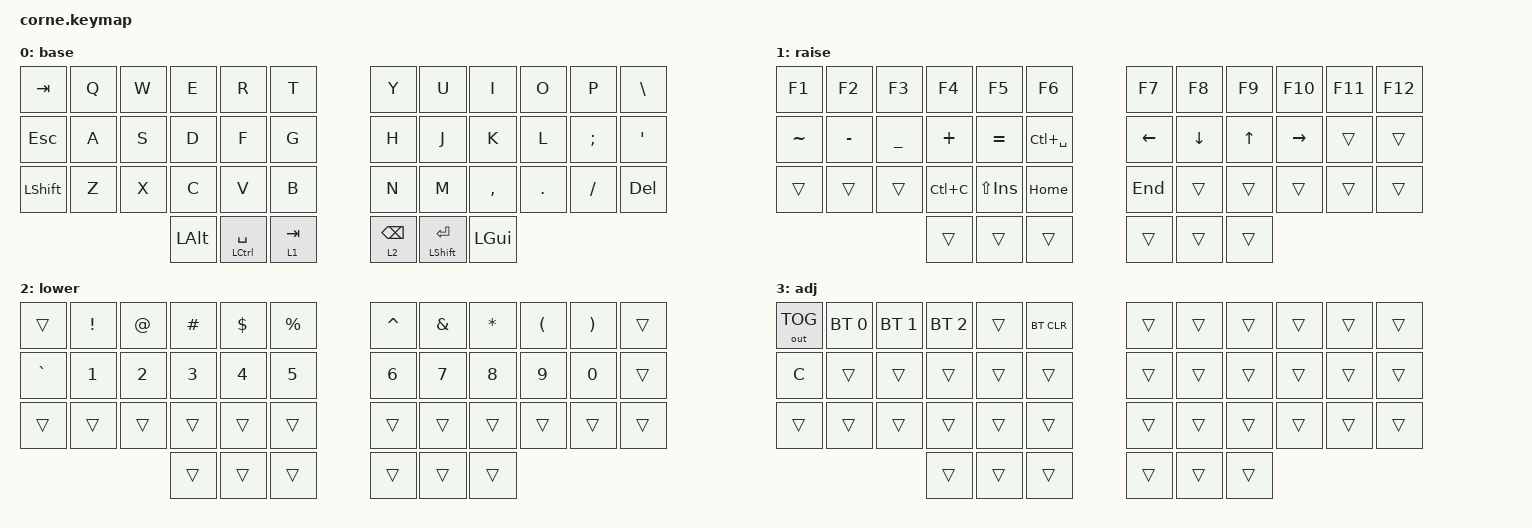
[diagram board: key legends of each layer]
/*
 * Copyright (c) 2020 The ZMK Contributors
 *
 * SPDX-License-Identifier: MIT
 */

#include <behaviors.dtsi>
#include <dt-bindings/zmk/keys.h>
#include <dt-bindings/zmk/outputs.h>
#include <dt-bindings/zmk/bt.h>

&lt {
    quick-tap-ms = <100>;
    tapping-term-ms = <150>;
};

&mt {
    flavor = "balanced";
    quick-tap-ms = <100>;
    tapping-term-ms = <150>;
};

/ {
    behaviors {
        hm: homerow_mods {
            compatible = "zmk,behavior-hold-tap";
            label = "HOMEROW_MODS";
            #binding-cells = <2>;
            tapping-term-ms = <150>;
            quick-tap-ms = <0>;
            flavor = "tap-preferred";
            bindings =
                <&kp>,
                <&kp>;
        };
    };
    
    conditional_layers {
        compatible = "zmk,conditional-layers";
        tri_layer {
            if-layers = <1 2>;
            then-layer = <3>;
        };
    };

    combos {
        compatible = "zmk,combos";

        LWindowsKey {
            bindings = <&kp LCMD>;
            key-positions = <37 38>;
        };

        lpar {
            bindings = <&kp LPAR>;
            key-positions = <16 17>;
        };

        rpar {
            bindings = <&kp RPAR>;
            key-positions = <19 18>;
        };

        lbkt {
            bindings = <&kp LBKT>;
            key-positions = <4 5>;
        };

        rbkt {
            bindings = <&kp RBKT>;
            key-positions = <6 7>;
        };

        lbrc {
            bindings = <&kp LBRC>;
            key-positions = <28 29>;
        };

        rbrc {
            bindings = <&kp RBRC>;
            key-positions = <30 31>;
        };

        MoveWinLeft {
            bindings = <&kp LG(LEFT)>;
            key-positions = <27 28>;
        };

        MoveWinRight {
            bindings = <&kp LG(RIGHT)>;
            key-positions = <31 32>;
        };

        RightDesktop {
            bindings = <&kp LG(LC(RIGHT))>;
            key-positions = <19 20>;
        };

        LeftDesktop {
            bindings = <&kp LG(LC(LEFT))>;
            key-positions = <16 15>;
        };
    };

    macros {
        zed_em_kay: zed_em_kay {
            compatible = "zmk,behavior-macro";
            label = "ZM_zed_em_kay";
            #binding-cells = <0>;
            bindings =
                <&macro_press>,
                <&kp LSHFT>,
                <&macro_tap>,
                <&kp Z &kp M &kp K>,
                <&macro_release>,
                <&kp LSHFT>;
        };
    };

    keymap {
        compatible = "zmk,keymap";

        base {
            bindings = <
   &kp TAB   &kp Q   &kp W     &kp E            &kp R      &kp T                    &kp Y           &kp U      &kp I    &kp O     &kp P      &kp BSLH
   &kp ESC   &kp A   &kp S     &kp D            &kp F      &kp G                    &kp H           &kp J      &kp K    &kp L     &kp SEMI   &kp SQT
 &kp LSHFT   &kp Z   &kp X     &kp C            &kp V      &kp B                    &kp N           &kp M      &kp COMMA &kp DOT  &kp FSLH   &kp DEL
                               &kp LALT   &mt LCTRL SPACE  &lt 1 TAB                &lt 2 BACKSPACE &mt LSHIFT RET   &kp LGUI
            >;
        };

        raise {
            bindings = <
    &kp F1     &kp F2     &kp F3     &kp F4       &kp F5         &kp F6            &kp F7    &kp F8  &kp F9    &kp F10  &kp F11  &kp F12
 &kp TILDE  &kp MINUS  &kp UNDER   &kp PLUS    &kp EQUAL  &kp LC(SPACE)          &kp LEFT  &kp DOWN  &kp UP  &kp RIGHT  &trans   &trans
    &trans     &trans     &trans  &kp LC(C)  &kp LS(INS)       &kp HOME          &kp END   &trans    &trans  &trans     &trans   &trans
                                     &trans       &trans         &trans            &trans    &trans  &trans
            >;
        };

        lower {
            bindings = <
    &trans      &kp EXCL        &kp AT      &kp HASH      &kp DLLR     &kp PRCNT             &kp CARET      &kp AMPS      &kp STAR      &kp LPAR      &kp RPAR  &trans
 &kp GRAVE   &kp NUMBER_1  &kp NUMBER_2  &kp NUMBER_3  &kp NUMBER_4  &kp NUMBER_5          &kp NUMBER_6  &kp NUMBER_7  &kp NUMBER_8      &kp NUMBER_9  &kp NUMBER_0  &trans
 &trans      &trans        &trans        &trans        &trans        &trans                &trans        &trans        &trans      &trans        &trans  &trans
                                              &trans        &trans        &trans                &trans        &trans        &trans
            >;
        };

        adj {
            bindings = <
 &out OUT_TOG  &bt BT_SEL 0  &bt BT_SEL 1  &bt BT_SEL 2  &trans  &bt BT_CLR          &trans  &trans  &trans  &trans  &trans  &trans
        &kp C        &trans        &trans        &trans  &trans      &trans          &trans  &trans  &trans  &trans  &trans  &trans
       &trans        &trans        &trans        &trans  &trans      &trans          &trans  &trans  &trans  &trans  &trans  &trans
                                                 &trans  &trans      &trans          &trans  &trans  &trans
            >;
        };
    };
};
